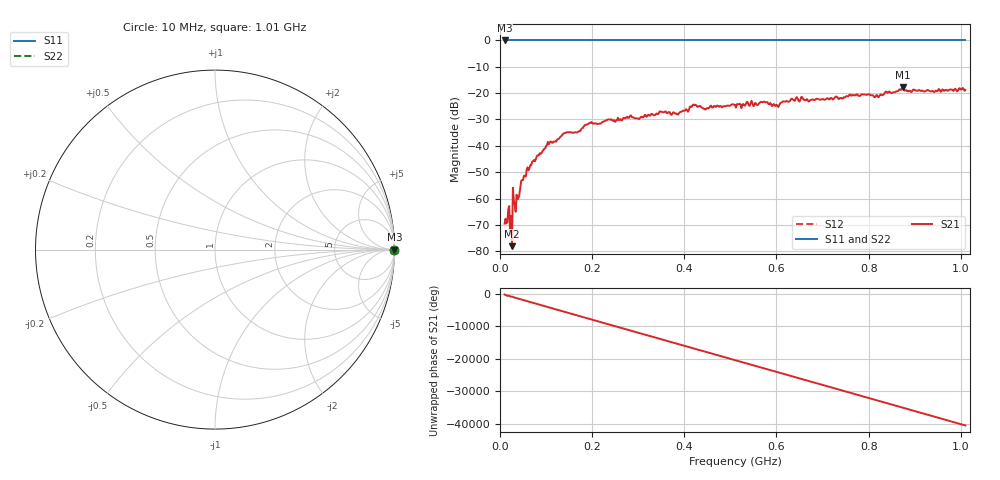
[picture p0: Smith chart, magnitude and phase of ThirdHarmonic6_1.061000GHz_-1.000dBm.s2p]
! 8/16/2025 9:30:32 AM
! C:\ANRITSUVNA\TEMP\TEMP.S2P
! CHANNEL.1
! TR.MEASUREMENT
! RAW.DATA
! RF.CORRECTION.OFF
! AVERAGING.OFF
! IF.BANDWIDTH: 5KHZ
! SWEEPTYPE:  FREQ.SWEEP(Linear)
! Reference Plane Port Info
! PORT:  PORT1  PORT2
! DISTANCE:  0  m  0  m
! TIME:  0  s  0  s
! PHASE.OFFSET:  0  deg.  0  deg.
! LOSS:  0  dB  0  dB
! REF.LOSS:  0  dB  0  dB
! REF.FREQ:  0  Hz  0  Hz
! Power Info
! POWER:  -20  dBm  -20  dBm
! EFF.POWER:  -20  dBm  -20  dBm
! SOURCE.ATTEN:  0  dB  0  dB
! TEST.ATTEN:  0  dB  0  dB
# GHZ S RI R 50.0
! FREQ.GHZ  S11RE  S11IM  S21RE  S21IM  S12RE  S12IM  S22RE  S22IM
!; PortSelection: Port_12
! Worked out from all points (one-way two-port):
!   501 points, 10 MHz to 1.01 GHz, reference 50 ohm
!   highest |S21| = -17.83 dB at 874 MHz (marker M1); lowest = -78.1 dB at 26 MHz (marker M2)
!   lowest |S11| = 0.0 dB at 10 MHz (marker M3)
!   |S11| at or under -10 dB: nowhere
!   |S22| runs from 0.0 to 0.0 dB; largest |S21 - S12| = 1.1
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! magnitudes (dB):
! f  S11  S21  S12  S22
! 10 MHz  0.0  -69.6  0.0  0.0
! 16 MHz  0.0  -68.9  0.0  0.0
! 22 MHz  0.0  -73.6  0.0  0.0
! 26 MHz  0.0  -78.1  0.0  0.0
! 30 MHz  0.0  -60.8  0.0  0.0
! 32 MHz  0.0  -62.2  0.0  0.0
! 38 MHz  0.0  -60.3  0.0  0.0
! 50 MHz  0.0  -53.0  0.0  0.0
! 70 MHz  0.0  -46.0  0.0  0.0
! 106 MHz  0.0  -39.4  0.0  0.0
! 178 MHz  0.0  -33.4  0.0  0.0
! 196 MHz  0.0  -31.3  0.0  0.0
! 344 MHz  0.0  -27.9  0.0  0.0
! 384 MHz  0.0  -28.1  0.0  0.0
! 422 MHz  0.0  -24.6  0.0  0.0
! 444 MHz  0.0  -26.1  0.0  0.0
! 510 MHz  0.0  -24.4  0.0  0.0
! 602 MHz  0.0  -24.7  0.0  0.0
! 678 MHz  0.0  -22.4  0.0  0.0
! 844 MHz  0.0  -19.4  0.0  0.0
! 874 MHz  0.0  -17.8  0.0  0.0
! 1.01 GHz  0.0  -18.8  0.0  0.0
